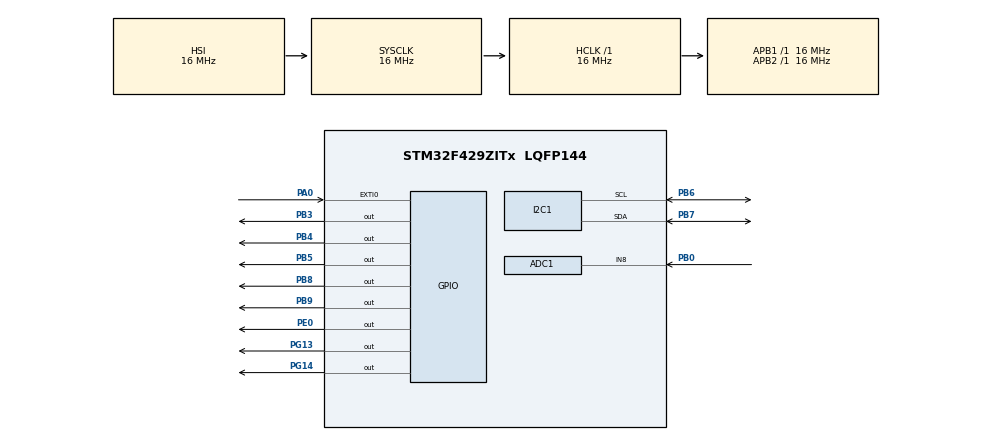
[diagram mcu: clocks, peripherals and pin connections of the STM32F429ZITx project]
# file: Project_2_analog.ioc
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ADC1.Channel-2\#ChannelRegularConversion=ADC_CHANNEL_8
ADC1.NbrOfConversionFlag=1
ADC1.Rank-2\#ChannelRegularConversion=1
ADC1.SamplingTime-2\#ChannelRegularConversion=ADC_SAMPLETIME_3CYCLES
ADC1.master=1
Mcu.Family=STM32F4
Mcu.Name=STM32F429ZITx
Mcu.Package=LQFP144
NVIC.ADC_IRQn=true\:0\:0\:false\:false\:true\:true\:true\:true
NVIC.EXTI0_IRQn=true\:0\:0\:false\:false\:true\:true\:true\:true
NVIC.PriorityGroup=NVIC_PRIORITYGROUP_4
NVIC.TIM1_UP_TIM10_IRQn=true\:0\:0\:false\:false\:true\:true\:true\:true
NVIC.TIM2_IRQn=true\:0\:0\:false\:false\:true\:true\:true\:true
PA0/WKUP.Signal=GPXTI0
PB0.Signal=ADCx_IN8
PB3.Signal=GPIO_Output
PB4.Signal=GPIO_Output
PB5.Signal=GPIO_Output
PB6.Mode=I2C
PB6.Signal=I2C1_SCL
PB7.Mode=I2C
PB7.Signal=I2C1_SDA
PB8.Signal=GPIO_Output
PB9.Signal=GPIO_Output
PE0.Signal=GPIO_Output
PG13.Signal=GPIO_Output
PG14.Signal=GPIO_Output
PH0/OSC_IN.Mode=HSE-External-Oscillator
PH0/OSC_IN.Signal=RCC_OSC_IN
PH1/OSC_OUT.Mode=HSE-External-Oscillator
PH1/OSC_OUT.Signal=RCC_OSC_OUT
ProjectManager.HeapSize=0x200
ProjectManager.StackSize=0x400
ProjectManager.TargetToolchain=STM32CubeIDE
RCC.48MHZClocksFreq_Value=48000000
RCC.AHBFreq_Value=16000000
RCC.APB1Freq_Value=16000000
RCC.APB1TimFreq_Value=16000000
RCC.APB2Freq_Value=16000000
RCC.APB2TimFreq_Value=16000000
RCC.CortexFreq_Value=16000000
RCC.HCLKFreq_Value=16000000
RCC.HSE_VALUE=25000000
RCC.HSI_VALUE=16000000
RCC.LSE_VALUE=32768
RCC.SYSCLKFreq_VALUE=16000000
RCC.VCOOutputFreq_Value=192000000
SH.ADCx_IN8.0=ADC1_IN8,IN8
TIM1.Period=1000
TIM1.Prescaler=160
TIM2.Period=1000
TIM2.Prescaler=16
VP_TIM1_VS_ClockSourceINT.Mode=Internal
VP_TIM2_VS_ClockSourceINT.Mode=Internal
board=custom

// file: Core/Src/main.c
/* USER CODE BEGIN Header */
/**
  ******************************************************************************
  * @file           : main.c
  * @brief          : Main program body
  ******************************************************************************
  * @attention
  *
  * <h2><center>&copy; Copyright (c) 2022 STMicroelectronics.
  * All rights reserved.</center></h2>
  *
  * This software component is licensed by ST under BSD 3-Clause license,
  * the "License"; You may not use this file except in compliance with the
  * License. You may obtain a copy of the License at:
  *                        opensource.org/licenses/BSD-3-Clause
  *
  ******************************************************************************
  */
/* USER CODE END Header */

// final conmit

#include "main.h"

/* USER CODE BEGIN Includes */

#include <stdio.h>
#include <string.h>
#include "liquidcrystal_i2c.h"

/* USER CODE END Includes */

/* USER CODE BEGIN PM */

//mode
volatile unsigned int mode = 1;
volatile unsigned int mode_count = 0;
volatile unsigned int mode_check = 0;
volatile unsigned int cls_lcd = 0;

//timer
volatile unsigned int timer_start = 0;
volatile unsigned int hour = 0, minute = 0, seconds = 50, mm_seconds = 0;

//temperature
volatile unsigned int led_blink = 0;

/* USER CODE END PM */

ADC_HandleTypeDef hadc1;

I2C_HandleTypeDef hi2c1;

TIM_HandleTypeDef htim1;
TIM_HandleTypeDef htim2;

void SystemClock_Config(void);
static void MX_GPIO_Init(void);
static void MX_I2C1_Init(void);
static void MX_ADC1_Init(void);
static void MX_TIM1_Init(void);
static void MX_TIM2_Init(void);

/* USER CODE BEGIN 0 */

// >>>>>>>>>>>>>> LED Display module <<<<<<<<<<<<<<<<<

void led_display(uint16_t hex_number, int delay){
	int pin[] = {GPIO_PIN_4, GPIO_PIN_3, GPIO_PIN_5, GPIO_PIN_8,GPIO_PIN_9, GPIO_PIN_0};
	for(int i=0;i<=4;i++){
	  HAL_GPIO_WritePin(GPIOB, pin[i], (hex_number & (0x01 << i)) >> i);
	  HAL_Delay(delay);
	}
	if(mode != 3) HAL_GPIO_WritePin(GPIOE, pin[5], (hex_number & (0x01 << 5)) >> 5);
	else HAL_GPIO_WritePin(GPIOE, pin[5], 0);
}

// >>>>>>>>>>>>>>> END LED Display module <<<<<<<<<<<<<<<<<<<<

// >>>>>>>>>>>>>>>>> Clear LCD mode change <<<<<<<<<<<<<<<<<<
void clear_lcd(){
	if(cls_lcd > 0){
		HD44780_Clear();
		led_display(0x1f, 100);
		led_display(0x00, 100);
		cls_lcd = 0;
	}
}
// >>>>>>>>>>>>>>>>> END Clear LCD mode change <<<<<<<<<<<<<<<<<<

// >>>>>>>>>>> temperature module <<<<<<<<<<<<<<<<<<<

void clear_LCDtemp(float temperature, int lcd_status){
	if(temperature > 100) lcd_status = 1;
	if(temperature < 100 && lcd_status == 1){
		HD44780_Clear();
		lcd_status = 0;
	}
}

float convert_data(int raw_data, char mode){
	float c = (float)raw_data/36.0;
	float f = 0;
	if(mode == 'C') return c;
	if(mode == 'F') return f = (c*1.8) + 32;
	return 0.0;
}

uint16_t check_temp(float temperature, char temp_mode){
	if(temp_mode == 'F') temperature = (temperature - 32)/1.8;
  	if(temperature >= 40) {
  		if(led_blink >= 500){
  			led_blink = 0;
  			HD44780_Backlight();
  			return 0x3f;
  		}
  		HD44780_NoBacklight();
  		return 0x00;
  	}
  	HD44780_Backlight();
	if(temperature >= 35) return 0x0f;
	if(temperature >= 30) return 0x07;
	if(temperature >= 25) return 0x03;
	return 0x01;
}

int readTemp(){
	int raw_data;
	// Read Temperature Sensor
	HAL_ADC_Start(&hadc1);
	HAL_ADC_PollForConversion(&hadc1, HAL_MAX_DELAY);
	raw_data = HAL_ADC_GetValue(&hadc1);
	HAL_ADC_Stop(&hadc1);
	return raw_data;
}

void temperature(){
	float temperature = 0;
	int lcd_status = 0;
	char msg[17];
	char temp_mode;

	while(1){
		clear_lcd();
		if(mode != 1 && mode != 2) break;
		if(mode == 1) temp_mode = 'C';
		else temp_mode = 'F';

		// Read Temperature Sensor
//		HAL_ADC_Start(&hadc1);
//		HAL_ADC_PollForConversion(&hadc1, HAL_MAX_DELAY);
//		raw_data = HAL_ADC_GetValue(&hadc1);
//		HAL_ADC_Stop(&hadc1);

		// Display LCD && LED
		HD44780_SetCursor(0,0);
		sprintf(msg, "Temperature (%c)", temp_mode);
		HD44780_PrintStr(msg);
		HD44780_SetCursor(8,1);
		temperature = convert_data(readTemp(), temp_mode);
		sprintf(msg, "%.2f %c", temperature, temp_mode);
		HD44780_PrintStr(msg);
		clear_LCDtemp(temperature, lcd_status);
		led_display(check_temp(temperature, temp_mode),0);
		HAL_Delay(250);
	}
}

// >>>>>>>>>>> END temperature module <<<<<<<<<<<<<<<<<<<

// >>>>>>>>>>>>>> timer module <<<<<<<<<<<

uint16_t led_timer(int seconds){
	if(seconds > 30) seconds %= 30;
	seconds %= 31;
	int set_hex[] = {0x00, 0x01, 0x02, 0x03, 0x04, 0x05, 0x06, 0x07,
					 0x08, 0x09, 0x0a, 0x0b, 0x0c, 0x0d, 0x0e, 0x0f,
					 0x11, 0x12, 0x13, 0x14, 0x15, 0x16, 0x17, 0x18,
					 0x19, 0x1a, 0x1b, 0x1c, 0x1d, 0x1e ,0x1f};
	return set_hex[seconds];
}

void timer(){
	char msg[17];
	sprintf(msg, "Timer!");
	HD44780_SetCursor(5,0);
	HD44780_PrintStr(msg);
	sprintf(msg, "%.2d : %.2d : %.2d.%d", hour, minute, seconds, mm_seconds);
	HD44780_SetCursor(0,1);
	HD44780_PrintStr(msg);
	led_display(led_timer(seconds),0);
	if(minute > 0 && seconds == 0 && mm_seconds <= 100 ) HAL_GPIO_WritePin(GPIOE, GPIO_PIN_0, 1);
	else if (minute > 0 && seconds == 0 && mm_seconds >= 200 && mm_seconds <= 300) HAL_GPIO_WritePin(GPIOE, GPIO_PIN_0, 1);
	else HAL_GPIO_WritePin(GPIOE, GPIO_PIN_0, 0);

	// Read Temperature Sensor
//	HAL_ADC_Start(&hadc1);
//	HAL_ADC_PollForConversion(&hadc1, HAL_MAX_DELAY);
//	raw_data = HAL_ADC_GetValue(&hadc1);
//	HAL_ADC_Stop(&hadc1);

	if (convert_data(readTemp(), 'C') >= 40){
		cls_lcd++;
		mode++;
		if(mode == 4) mode = 1; // config amount mode here
		mode_count = 0;
		mode_check = 0;
	}
}

// >>>>>>>>>>>>>> END timer module <<<<<<<<<<<

/* USER CODE END 0 */

int main(void)
{

  /* MCU Configuration--------------------------------------------------------*/

  /* Reset of all peripherals, Initializes the Flash interface and the Systick. */
  HAL_Init();

  /* Configure the system clock */
  SystemClock_Config();

  /* Initialize all configured peripherals */
  MX_GPIO_Init();
  MX_I2C1_Init();
  MX_ADC1_Init();
  MX_TIM1_Init();
  MX_TIM2_Init();
  /* USER CODE BEGIN 2 */

	HD44780_Init(2); // Define row
	HD44780_Clear(); // Clear Display
	HD44780_Backlight(); // Turn on Light
	HAL_ADC_Start(&hadc1);

	HAL_TIM_Base_Start_IT(&htim1);
	HAL_TIM_Base_Start_IT(&htim2);

  /* USER CODE END 2 */

  /* Infinite loop */
  while (1)
  {

    /* USER CODE BEGIN 3 */

	  clear_lcd();
	  if(mode == 1) temperature();
	  else if(mode == 3) timer();
	  else if(mode > 3)
		  HD44780_Clear();

//		sprintf(msg, "mode = %d", mode);
//		HD44780_SetCursor(0,0);
//		HD44780_PrintStr(msg);

//	  HAL_GPIO_TogglePin(GPIOG, GPIO_PIN_13);
//	  HAL_GPIO_TogglePin(GPIOG, GPIO_PIN_14);
//	  HAL_Delay(speed);
  }
  /* USER CODE END 3 */
}

void SystemClock_Config(void)
{
  RCC_OscInitTypeDef RCC_OscInitStruct = {0};
  RCC_ClkInitTypeDef RCC_ClkInitStruct = {0};

  /** Configure the main internal regulator output voltage
  */
  __HAL_RCC_PWR_CLK_ENABLE();
  __HAL_PWR_VOLTAGESCALING_CONFIG(PWR_REGULATOR_VOLTAGE_SCALE3);
  /** Initializes the CPU, AHB and APB busses clocks
  */
  RCC_OscInitStruct.OscillatorType = RCC_OSCILLATORTYPE_HSI;
  RCC_OscInitStruct.HSIState = RCC_HSI_ON;
  RCC_OscInitStruct.HSICalibrationValue = RCC_HSICALIBRATION_DEFAULT;
  RCC_OscInitStruct.PLL.PLLState = RCC_PLL_NONE;
  if (HAL_RCC_OscConfig(&RCC_OscInitStruct) != HAL_OK)
  {
    Error_Handler();
  }
  /** Initializes the CPU, AHB and APB busses clocks
  */
  RCC_ClkInitStruct.ClockType = RCC_CLOCKTYPE_HCLK|RCC_CLOCKTYPE_SYSCLK
                              |RCC_CLOCKTYPE_PCLK1|RCC_CLOCKTYPE_PCLK2;
  RCC_ClkInitStruct.SYSCLKSource = RCC_SYSCLKSOURCE_HSI;
  RCC_ClkInitStruct.AHBCLKDivider = RCC_SYSCLK_DIV1;
  RCC_ClkInitStruct.APB1CLKDivider = RCC_HCLK_DIV1;
  RCC_ClkInitStruct.APB2CLKDivider = RCC_HCLK_DIV1;

  if (HAL_RCC_ClockConfig(&RCC_ClkInitStruct, FLASH_LATENCY_0) != HAL_OK)
  {
    Error_Handler();
  }
}

static void MX_ADC1_Init(void)
{

  ADC_ChannelConfTypeDef sConfig = {0};

  /** Configure the global features of the ADC (Clock, Resolution, Data Alignment and number of conversion)
  */
  hadc1.Instance = ADC1;
  hadc1.Init.ClockPrescaler = ADC_CLOCK_SYNC_PCLK_DIV2;
  hadc1.Init.Resolution = ADC_RESOLUTION_12B;
  hadc1.Init.ScanConvMode = DISABLE;
  hadc1.Init.ContinuousConvMode = DISABLE;
  hadc1.Init.DiscontinuousConvMode = DISABLE;
  hadc1.Init.ExternalTrigConvEdge = ADC_EXTERNALTRIGCONVEDGE_NONE;
  hadc1.Init.ExternalTrigConv = ADC_SOFTWARE_START;
  hadc1.Init.DataAlign = ADC_DATAALIGN_RIGHT;
  hadc1.Init.NbrOfConversion = 1;
  hadc1.Init.DMAContinuousRequests = DISABLE;
  hadc1.Init.EOCSelection = ADC_EOC_SINGLE_CONV;
  if (HAL_ADC_Init(&hadc1) != HAL_OK)
  {
    Error_Handler();
  }
  /** Configure for the selected ADC regular channel its corresponding rank in the sequencer and its sample time.
  */
  sConfig.Channel = ADC_CHANNEL_8;
  sConfig.Rank = 1;
  sConfig.SamplingTime = ADC_SAMPLETIME_3CYCLES;
  if (HAL_ADC_ConfigChannel(&hadc1, &sConfig) != HAL_OK)
  {
    Error_Handler();
  }

}

static void MX_I2C1_Init(void)
{

  hi2c1.Instance = I2C1;
  hi2c1.Init.ClockSpeed = 100000;
  hi2c1.Init.DutyCycle = I2C_DUTYCYCLE_2;
  hi2c1.Init.OwnAddress1 = 0;
  hi2c1.Init.AddressingMode = I2C_ADDRESSINGMODE_7BIT;
  hi2c1.Init.DualAddressMode = I2C_DUALADDRESS_DISABLE;
  hi2c1.Init.OwnAddress2 = 0;
  hi2c1.Init.GeneralCallMode = I2C_GENERALCALL_DISABLE;
  hi2c1.Init.NoStretchMode = I2C_NOSTRETCH_DISABLE;
  if (HAL_I2C_Init(&hi2c1) != HAL_OK)
  {
    Error_Handler();
  }
  /** Configure Analogue filter
  */
  if (HAL_I2CEx_ConfigAnalogFilter(&hi2c1, I2C_ANALOGFILTER_ENABLE) != HAL_OK)
  {
    Error_Handler();
  }
  /** Configure Digital filter
  */
  if (HAL_I2CEx_ConfigDigitalFilter(&hi2c1, 0) != HAL_OK)
  {
    Error_Handler();
  }

}

static void MX_TIM1_Init(void)
{

  TIM_ClockConfigTypeDef sClockSourceConfig = {0};
  TIM_MasterConfigTypeDef sMasterConfig = {0};

  htim1.Instance = TIM1;
  htim1.Init.Prescaler = 160;
  htim1.Init.CounterMode = TIM_COUNTERMODE_UP;
  htim1.Init.Period = 1000;
  htim1.Init.ClockDivision = TIM_CLOCKDIVISION_DIV1;
  htim1.Init.RepetitionCounter = 0;
  htim1.Init.AutoReloadPreload = TIM_AUTORELOAD_PRELOAD_DISABLE;
  if (HAL_TIM_Base_Init(&htim1) != HAL_OK)
  {
    Error_Handler();
  }
  sClockSourceConfig.ClockSource = TIM_CLOCKSOURCE_INTERNAL;
  if (HAL_TIM_ConfigClockSource(&htim1, &sClockSourceConfig) != HAL_OK)
  {
    Error_Handler();
  }
  sMasterConfig.MasterOutputTrigger = TIM_TRGO_RESET;
  sMasterConfig.MasterSlaveMode = TIM_MASTERSLAVEMODE_DISABLE;
  if (HAL_TIMEx_MasterConfigSynchronization(&htim1, &sMasterConfig) != HAL_OK)
  {
    Error_Handler();
  }

}

static void MX_TIM2_Init(void)
{

  TIM_ClockConfigTypeDef sClockSourceConfig = {0};
  TIM_MasterConfigTypeDef sMasterConfig = {0};

  htim2.Instance = TIM2;
  htim2.Init.Prescaler = 16;
  htim2.Init.CounterMode = TIM_COUNTERMODE_UP;
  htim2.Init.Period = 1000;
  htim2.Init.ClockDivision = TIM_CLOCKDIVISION_DIV1;
  htim2.Init.AutoReloadPreload = TIM_AUTORELOAD_PRELOAD_DISABLE;
  if (HAL_TIM_Base_Init(&htim2) != HAL_OK)
  {
    Error_Handler();
  }
  sClockSourceConfig.ClockSource = TIM_CLOCKSOURCE_INTERNAL;
  if (HAL_TIM_ConfigClockSource(&htim2, &sClockSourceConfig) != HAL_OK)
  {
    Error_Handler();
  }
  sMasterConfig.MasterOutputTrigger = TIM_TRGO_RESET;
  sMasterConfig.MasterSlaveMode = TIM_MASTERSLAVEMODE_DISABLE;
  if (HAL_TIMEx_MasterConfigSynchronization(&htim2, &sMasterConfig) != HAL_OK)
  {
    Error_Handler();
  }

}

static void MX_GPIO_Init(void)
{
  GPIO_InitTypeDef GPIO_InitStruct = {0};

  /* GPIO Ports Clock Enable */
  __HAL_RCC_GPIOH_CLK_ENABLE();
  __HAL_RCC_GPIOA_CLK_ENABLE();
  __HAL_RCC_GPIOB_CLK_ENABLE();
  __HAL_RCC_GPIOG_CLK_ENABLE();
  __HAL_RCC_GPIOE_CLK_ENABLE();

  /*Configure GPIO pin Output Level */
  HAL_GPIO_WritePin(GPIOG, GPIO_PIN_13|GPIO_PIN_14, GPIO_PIN_RESET);

  /*Configure GPIO pin Output Level */
  HAL_GPIO_WritePin(GPIOB, GPIO_PIN_3|GPIO_PIN_4|GPIO_PIN_5|GPIO_PIN_8
                          |GPIO_PIN_9, GPIO_PIN_RESET);

  /*Configure GPIO pin Output Level */
  HAL_GPIO_WritePin(GPIOE, GPIO_PIN_0, GPIO_PIN_RESET);

  /*Configure GPIO pin : PA0 */
  GPIO_InitStruct.Pin = GPIO_PIN_0;
  GPIO_InitStruct.Mode = GPIO_MODE_IT_RISING;
  GPIO_InitStruct.Pull = GPIO_NOPULL;
  HAL_GPIO_Init(GPIOA, &GPIO_InitStruct);

  /*Configure GPIO pins : PG13 PG14 */
  GPIO_InitStruct.Pin = GPIO_PIN_13|GPIO_PIN_14;
  GPIO_InitStruct.Mode = GPIO_MODE_OUTPUT_PP;
  GPIO_InitStruct.Pull = GPIO_NOPULL;
  GPIO_InitStruct.Speed = GPIO_SPEED_FREQ_LOW;
  HAL_GPIO_Init(GPIOG, &GPIO_InitStruct);

  /*Configure GPIO pins : PB3 PB4 PB5 PB8
                           PB9 */
  GPIO_InitStruct.Pin = GPIO_PIN_3|GPIO_PIN_4|GPIO_PIN_5|GPIO_PIN_8
                          |GPIO_PIN_9;
  GPIO_InitStruct.Mode = GPIO_MODE_OUTPUT_PP;
  GPIO_InitStruct.Pull = GPIO_NOPULL;
  GPIO_InitStruct.Speed = GPIO_SPEED_FREQ_LOW;
  HAL_GPIO_Init(GPIOB, &GPIO_InitStruct);

  /*Configure GPIO pin : PE0 */
  GPIO_InitStruct.Pin = GPIO_PIN_0;
  GPIO_InitStruct.Mode = GPIO_MODE_OUTPUT_PP;
  GPIO_InitStruct.Pull = GPIO_NOPULL;
  GPIO_InitStruct.Speed = GPIO_SPEED_FREQ_LOW;
  HAL_GPIO_Init(GPIOE, &GPIO_InitStruct);

  /* EXTI interrupt init*/
  HAL_NVIC_SetPriority(EXTI0_IRQn, 0, 0);
  HAL_NVIC_EnableIRQ(EXTI0_IRQn);

}

void Error_Handler(void)
{
}

/************************ (C) COPYRIGHT STMicroelectronics *****END OF FILE****/
